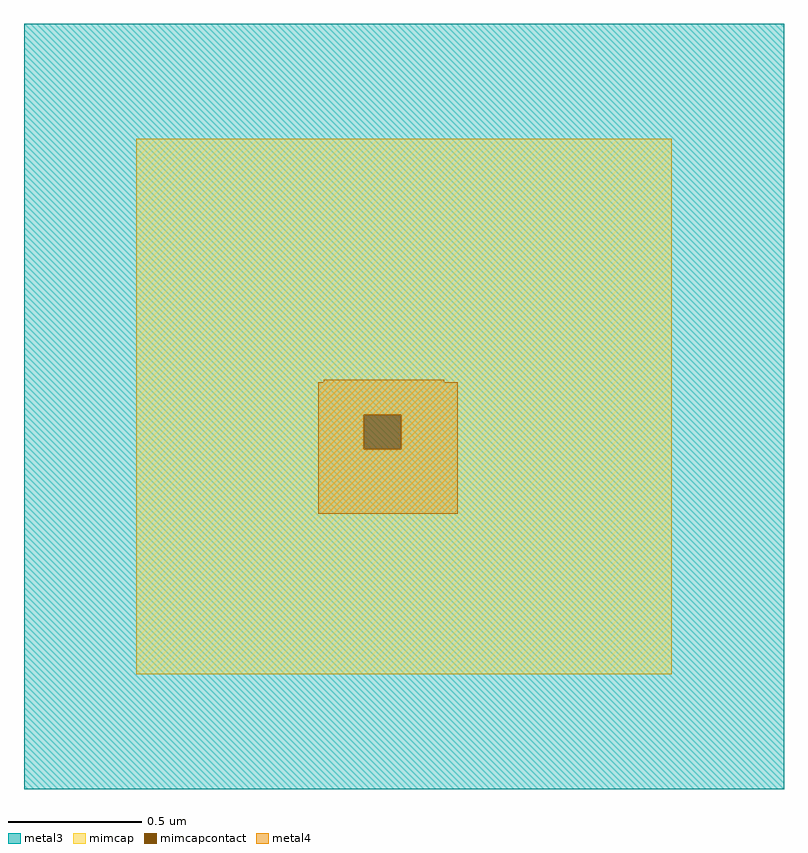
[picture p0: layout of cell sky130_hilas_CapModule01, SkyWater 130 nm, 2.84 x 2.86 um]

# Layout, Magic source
magic
tech sky130A
<< metal3 >>
rect 0 0 284 286
<< mimcap >>
rect 42 140 242 243
rect 42 127 127 140
rect 141 127 242 140
rect 42 43 242 127
<< mimcapcontact >>
rect 127 127 141 140
<< metal4 >>
rect 112 152 157 153
rect 110 140 162 152
rect 110 127 127 140
rect 141 127 162 140
rect 110 103 162 127
<< properties >>
string LEFsite unithd
string LEFclass CORE
string LEFsymmetry X Y R90
<< end >>
